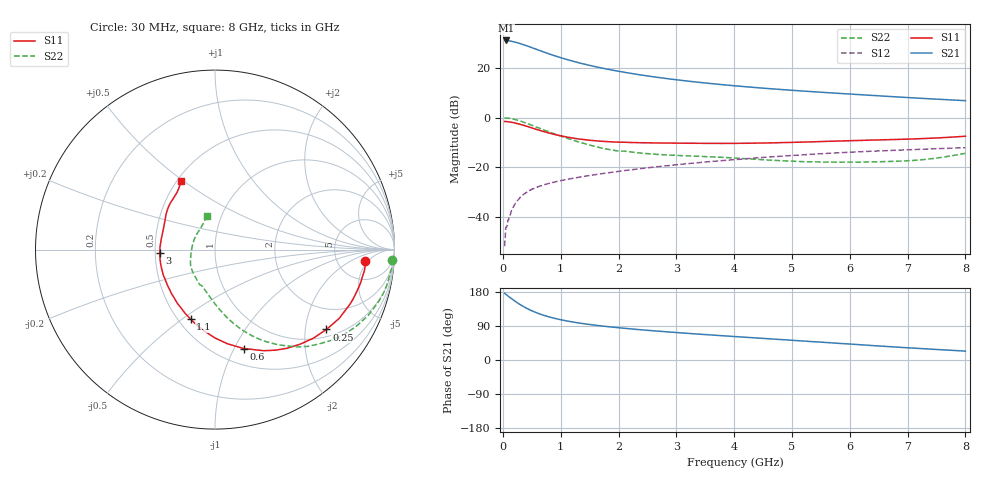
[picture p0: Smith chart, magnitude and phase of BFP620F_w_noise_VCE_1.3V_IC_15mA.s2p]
! Infineon Technologies  Discrete & RF Semiconductors
! BFP620F
! VCE =  1.3 V,  IC =  15 mA
! Common Emitter S-Parameters:  Dec 2014
# GHz  S  MA  R  50
!  f  S11  S21  S12  S22
! GHz  MAG  ANG  MAG  ANG  MAG  ANG  MAG  ANG
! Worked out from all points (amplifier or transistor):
!   95 points, 30 MHz to 8 GHz, reference 50 ohm
!   highest |S21| = 31.1 dB at 50 MHz (marker M1)
!   |S21| within 3 dB of that: start of sweep to 513.5 MHz
!   unconditionally stable (mu >= 1): 3.414 GHz to end of sweep
!   at 300 MHz: K = 0.23, MSG = 31.0 dB, |S12| = -32.1 dB
!   at 3.3 GHz: K = 1.00, MSG = 16.4 dB, |S12| = -18.3 dB
!   at 8 GHz: K = 1.07, MAG = 7.8 dB, |S12| = -12.0 dB
!   lowest NFmin = 0.71 dB at 450 MHz
!   S11 on the Smith chart (normalised r, x): 30 MHz: 10, -4; 250 MHz: 1.22, -2.61; 600 MHz: 0.66, -1.09; 1.1 GHz: 0.58, -0.54; 3 GHz: 0.53, -0.02; 8 GHz: 0.52, +0.49
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0.03  0.8406 -4.4  36.01 176.0  0.0026 96.9  0.9862 -3.3
0.05  0.8411 -7.5  36.02 173.6  0.0062 87.5  0.9915 -5.7
0.08  0.8334 -11.9  35.79 169.9  0.0075 81.1  0.9815 -9.4
0.15  0.811 -22.1  34.64 161.8  0.0135 79.0  0.9559 -17.7
0.25  0.764 -35.6  32.4 151.0  0.0213 72.8  0.8957 -28.5
0.3  0.7377 -42.0  31.17 146.1  0.0249 70.5  0.86 -33.5
0.4  0.6805 -53.9  28.51 137.4  0.0309 66.0  0.7816 -42.3
0.5  0.6257 -64.2  25.84 130.0  0.0363 62.9  0.7082 -50.0
0.6  0.574 -73.8  23.41 123.6  0.0405 60.4  0.6362 -56.5
0.7  0.5301 -82.3  21.26 118.2  0.0444 58.5  0.5743 -62.2
0.8  0.4929 -89.9  19.32 113.7  0.0478 57.2  0.5189 -67.1
0.9  0.4597 -96.9  17.67 109.7  0.0511 56.1  0.4701 -71.6
1.1  0.4101 -109.4  14.97 103.2  0.0572 55.3  0.3903 -79.4
1.4  0.3647 -125.4  12.1 95.8  0.0659 54.5  0.3048 -89.7
1.7  0.3365 -138.8  10.09 90.0  0.0745 54.4  0.2468 -99.9
2  0.3228 -150.1  8.641 85.2  0.0833 54.0  0.2142 -110.0
2.7  0.3109 -169.8  6.455 76.0  0.1041 51.8  0.182 -129.3
3  0.3081 -176.5  5.829 72.5  0.1132 51.0  0.1754 -135.6
4.1  0.306 163.6  4.312 61.0  0.1463 46.1  0.1522 -153.7
5.4  0.3294 146.8  3.326 48.0  0.1857 38.5  0.1296 177.4
6.7  0.3631 131.6  2.68 35.1  0.2196 29.6  0.1321 142.9
8  0.4252 116.7  2.211 23.4  0.2499 20.9  0.1922 103.9
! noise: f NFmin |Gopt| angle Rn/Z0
0.45  0.71  0.15  6  0.2
0.9  0.77  0.14  18  0.18
1.5  0.82  0.13  20  0.13
1.8  0.85  0.13  21  0.11
1.9  0.86  0.09  36  0.14
2.4  0.9  0.08  52  0.12
3.5  0.98  0.06  85  0.13
5.5  1.13  0.11  208  0.08
6  1.17  0.11  235  0.13
